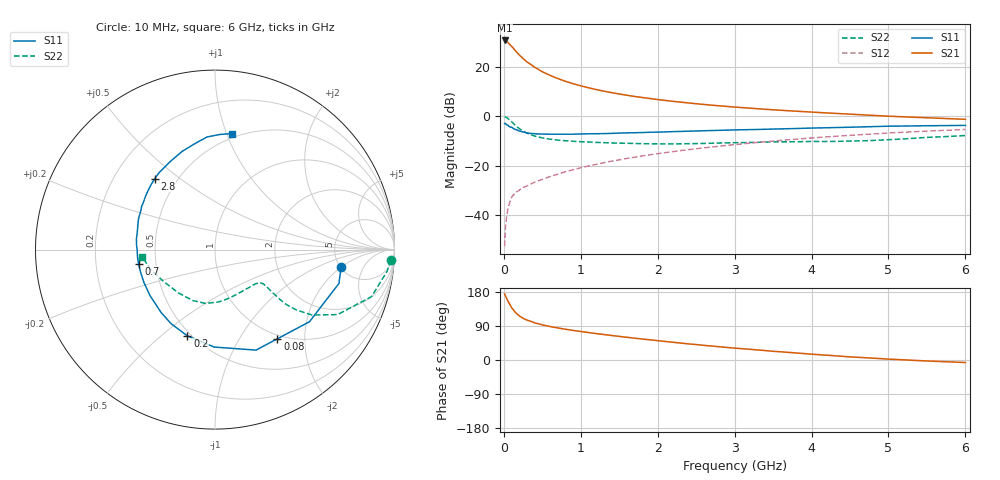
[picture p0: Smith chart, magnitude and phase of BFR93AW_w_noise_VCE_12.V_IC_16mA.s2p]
! Infineon Technologies  Discrete & RF Semiconductors
! BFR93AW
! VCE =  12. V,  IC =  16 mA
! Common Emitter S-Parameters:  Jan 2017
# GHz  S  MA  R  50
!  f  S11  S21  S12  S22
! GHz  MAG  ANG  MAG  ANG  MAG  ANG  MAG  ANG
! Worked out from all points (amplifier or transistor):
!   77 points, 10 MHz to 6 GHz, reference 50 ohm
!   highest |S21| = 30.5 dB at 10 MHz (marker M1)
!   |S21| within 3 dB of that: start of sweep to 119 MHz
!   unconditionally stable (mu >= 1): 785.7 MHz to 2.109 GHz
!   at 130 MHz: K = 0.39, MSG = 29.3 dB, |S12| = -31.6 dB
!   at 2.2 GHz: K = 0.99, MSG = 10.1 dB, |S12| = -14.3 dB
!   at 6 GHz: K = 0.85, MSG = 2.0 dB, |S12| = -5.3 dB
!   lowest NFmin = 1.41 dB at 450 MHz
!   S11 on the Smith chart (normalised r, x): 10 MHz: 5.10, -1.95; 80 MHz: 0.94, -1.48; 200 MHz: 0.48, -0.62; 700 MHz: 0.40, -0.08; 2.8 GHz: 0.38, +0.41; 6 GHz: 0.46, +1.04
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0.01  0.7089 -7.7  33.6 174.4  0.0024 73.0  0.9816 -3.4
0.02  0.7159 -15.3  33.54 169.9  0.0054 85.6  0.9664 -7.2
0.05  0.6622 -37.4  31.03 156.2  0.0128 73.7  0.9108 -16.7
0.08  0.6063 -55.0  27.53 146.2  0.0189 65.8  0.8243 -23.0
0.1  0.6048 -67.8  25.77 138.1  0.0231 62.9  0.7732 -27.9
0.15  0.543 -90.5  20.91 125.4  0.0286 57.1  0.6521 -34.0
0.2  0.5047 -107.7  17.21 116.6  0.0322 56.2  0.5632 -36.6
0.25  0.4801 -120.5  14.52 110.1  0.0365 55.4  0.5004 -37.6
0.3  0.4615 -130.5  12.44 105.3  0.0392 55.4  0.454 -37.5
0.4  0.4437 -144.7  9.693 98.0  0.0467 58.1  0.3983 -36.7
0.5  0.4362 -155.2  7.883 92.7  0.0532 59.6  0.3654 -36.0
0.6  0.4334 -162.9  6.651 88.4  0.0608 62.3  0.3441 -35.5
0.7  0.4333 -169.3  5.745 84.7  0.0676 63.7  0.3301 -35.4
0.9  0.4336 -179.6  4.512 78.1  0.0833 65.6  0.3123 -36.4
1.1  0.4416 172.3  3.742 72.5  0.0992 66.8  0.3018 -38.5
1.5  0.4561 159.8  2.801 62.3  0.1318 67.0  0.2858 -45.4
2.1  0.4824 144.6  2.077 48.9  0.1844 64.9  0.2766 -60.6
2.8  0.5184 130.3  1.618 35.0  0.2483 60.4  0.288 -81.1
3.1  0.5325 124.3  1.488 29.8  0.2767 58.0  0.2936 -89.4
4.1  0.5806 107.0  1.186 14.0  0.3735 48.6  0.309 -117.2
5.1  0.6309 92.8  0.985 1.4  0.4662 37.7  0.3416 -150.8
6  0.6529 81.9  0.865 -6.7  0.5403 27.2  0.4076 -174.3
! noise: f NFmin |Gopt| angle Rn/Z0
0.45  1.41  0.12  146  0.13
0.9  1.69  0.23  168  0.14
1.9  2.69  0.47  -141  0.21
2.4  3.31  0.54  -127  0.41
